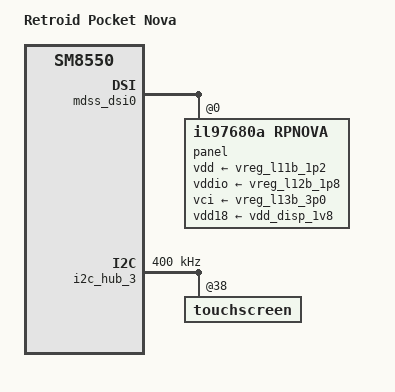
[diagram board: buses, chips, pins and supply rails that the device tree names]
// SPDX-License-Identifier: GPL-2.0
/*
 * Copyright (C) 2026-present ROCKNIX (https://github.com/ROCKNIX).
 */

/dts-v1/;

#include "qcs8550-retroidpocket-rp6.dts"

/ {
	model = "Retroid Pocket Nova";
	compatible = "retroidpocket,rpnova", "qcom,qcs8550", "qcom,sm8550";
};

/*
 * The Nova's own DSP and speaker amplifier firmware (package
 * nova-firmware, from its Android build) rather than the Odin 2's the
 * RP6 tree names. The ADSP runs the audio graph and the charger
 * interface; the amplifiers' tuning is the Nova speakers' own.
 */
/*
 * The three thermistors Retroid wired to the PMICs, read through the
 * PMK8550's ADC: the crystal's (PMK8550 AMUX1), the USB-C connector's and
 * the one Android calls wireless-charging (PM8550B AMUX4 and AMUX6; the
 * Nova has no wireless charging, where that thermistor sits on the board
 * is read from the temperatures, not from the name). Channel numbers,
 * settle time and the names are the Nova's Android device tree's. Each
 * is a thermal zone so fancontrol can read it; the single trip is the
 * placeholder Android uses too, there is no kernel mitigation on these.
 */
&pmk8550_vadc {
	channel@44 {
		reg = <ADC5_GEN3_AMUX1_THM_100K_PU(0)>;
		label = "pmk8550_xo_therm";
		qcom,ratiometric;
		qcom,hw-settle-time = <200>;
		qcom,pre-scaling = <1 1>;
		qcom,adc-tm;
	};

	channel@747 {
		reg = <ADC5_GEN3_AMUX4_THM_100K_PU(7)>;
		label = "pm8550b_usb_therm";
		qcom,ratiometric;
		qcom,hw-settle-time = <200>;
		qcom,pre-scaling = <1 1>;
		qcom,adc-tm;
	};

	channel@749 {
		reg = <ADC5_GEN3_AMUX6_THM_100K_PU(7)>;
		label = "pm8550b_wls_therm";
		qcom,ratiometric;
		qcom,hw-settle-time = <200>;
		qcom,pre-scaling = <1 1>;
		qcom,adc-tm;
	};
};

/ {
	thermal-zones {
		xo-thermal {
			thermal-sensors = <&pmk8550_vadc ADC5_GEN3_AMUX1_THM_100K_PU(0)>;

			trips {
				trip-point0 {
					temperature = <125000>;
					hysteresis = <1000>;
					type = "passive";
				};
			};
		};

		usb-thermal {
			thermal-sensors = <&pmk8550_vadc ADC5_GEN3_AMUX4_THM_100K_PU(7)>;

			trips {
				trip-point0 {
					temperature = <125000>;
					hysteresis = <1000>;
					type = "passive";
				};
			};
		};

		wls-thermal {
			thermal-sensors = <&pmk8550_vadc ADC5_GEN3_AMUX6_THM_100K_PU(7)>;

			trips {
				trip-point0 {
					temperature = <125000>;
					hysteresis = <1000>;
					type = "passive";
				};
			};
		};
	};
};

&remoteproc_adsp {
	firmware-name = "qcom/sm8550/retroidpocket/rpnova/adsp.mbn",
			"qcom/sm8550/retroidpocket/rpnova/adsp_dtb.mbn";
};

&remoteproc_cdsp {
	firmware-name = "qcom/sm8550/retroidpocket/rpnova/cdsp.mbn",
			"qcom/sm8550/retroidpocket/rpnova/cdsp_dtb.mbn";
};

/*
 * The Nova's tuning file holds one block per amplifier, picked by
 * audio-channel; the two differ only in the I2S channel select
 * (register 0x06). Android gives 0x34 channel 1 and 0x35 channel 0;
 * the Odin 2's values the other way round played left on the right.
 */
&spk_amp_l {
	firmware-name = "qcom/sm8550/retroidpocket/rpnova/aw883xx_acf.bin";
	awinic,audio-channel = <1>;
};

&spk_amp_r {
	firmware-name = "qcom/sm8550/retroidpocket/rpnova/aw883xx_acf.bin";
	awinic,audio-channel = <0>;
};

&mdss_dsi0 {
	panel@0 {
		compatible = "il97680a,rpnova";
		/delete-property/ rotation;
		/*
		 * The Nova's own rails, as Android and Retroid's tree have
		 * them. The RP6 node supplied vddio and avdd, and the driver
		 * asks for vdd, vddio, vci, vdd18 and vdd28: avdd went unused,
		 * and the 2.8 V and 1.2 V rails stayed as the bootloader left
		 * them, on through every blank and suspend.
		 */
		/delete-property/ avdd-supply;
		vdd-supply = <&vreg_l11b_1p2>;
		vddio-supply = <&vreg_l12b_1p8>;
		vci-supply = <&vreg_l13b_3p0>;
		vdd18-supply = <&vdd_disp_1v8>;
		vdd28-supply = <&vdd_disp_2v8>;
		/*
		 * The DPU turns output dithering off at 8bpc, so the 10-bit
		 * result of a colour profile is truncated onto the panel and
		 * dark gradients step. Kernel patch 0049 reads this.
		 */
		armada,dpu-8bpc-dither;
	};
};

/* GPIO 142 is the RP6's; Android's qcom,platform-mipi-2v8 is 143. */
&vdd_disp_2v8 {
	gpio = <&tlmm 143 GPIO_ACTIVE_HIGH>;
};

&i2c_hub_3 {
	/*
	 * Byte-at-a-time reads (the AYN i2c_hub workaround inherited from the
	 * RP6) take 63 transfers per ft5426 frame and cap touch at ~28 Hz.
	 * Bulk reads at 400 kHz keep up with the controller's 120 Hz reports.
	 */
	clock-frequency = <400000>;

	touchscreen@38 {
		touchscreen-size-x = <1280>;
		touchscreen-size-y = <960>;
		/delete-property/ touchscreen-inverted-y;
		/delete-property/ no-regmap-bulk-read;
		/*
		 * The RP6 node's ts_p states are GPIO 24/25, the reference
		 * board's touch pins and unused here; the Nova's reset and
		 * interrupt are 14 and 15, which the ts_s states configure the
		 * way Android's ts_active1/ts_suspend1 do.
		 */
		pinctrl-0 = <&ts_s_rst_default &ts_s_int_default>;
		pinctrl-1 = <&ts_s_rst_sleep &ts_s_int_sleep>;
	};
};

&gamepad {
	invert-x;
	invert-y;
	trigger-left-deadzone = <100>;
	trigger-right-deadzone = <100>;
};
